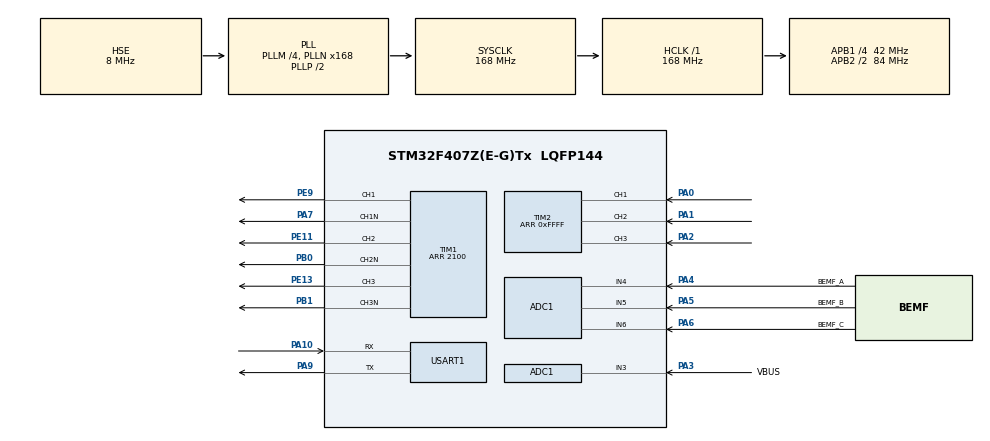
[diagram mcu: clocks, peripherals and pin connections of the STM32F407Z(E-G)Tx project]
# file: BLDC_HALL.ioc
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ADC1.Channel-0\#ChannelRegularConversion=ADC_CHANNEL_3
ADC1.Channel-1\#ChannelRegularConversion=ADC_CHANNEL_4
ADC1.Channel-2\#ChannelRegularConversion=ADC_CHANNEL_5
ADC1.Channel-3\#ChannelRegularConversion=ADC_CHANNEL_6
ADC1.ContinuousConvMode=ENABLE
ADC1.DMAContinuousRequests=ENABLE
ADC1.InjNumberOfConversion=0
ADC1.NbrOfConversion=4
ADC1.NbrOfConversionFlag=1
ADC1.Rank-0\#ChannelRegularConversion=1
ADC1.Rank-1\#ChannelRegularConversion=2
ADC1.Rank-2\#ChannelRegularConversion=3
ADC1.Rank-3\#ChannelRegularConversion=4
ADC1.SamplingTime-0\#ChannelRegularConversion=ADC_SAMPLETIME_3CYCLES
ADC1.SamplingTime-1\#ChannelRegularConversion=ADC_SAMPLETIME_3CYCLES
ADC1.SamplingTime-2\#ChannelRegularConversion=ADC_SAMPLETIME_3CYCLES
ADC1.SamplingTime-3\#ChannelRegularConversion=ADC_SAMPLETIME_3CYCLES
ADC1.ScanConvMode=ENABLE
ADC1.master=1
Dma.ADC1.0.Direction=DMA_PERIPH_TO_MEMORY
Dma.ADC1.0.FIFOMode=DMA_FIFOMODE_DISABLE
Dma.ADC1.0.Instance=DMA2_Stream0
Dma.ADC1.0.MemDataAlignment=DMA_MDATAALIGN_WORD
Dma.ADC1.0.MemInc=DMA_MINC_ENABLE
Dma.ADC1.0.Mode=DMA_CIRCULAR
Dma.ADC1.0.PeriphDataAlignment=DMA_PDATAALIGN_WORD
Dma.ADC1.0.PeriphInc=DMA_PINC_DISABLE
Dma.ADC1.0.Priority=DMA_PRIORITY_HIGH
Dma.Request0=ADC1
Mcu.Family=STM32F4
Mcu.Name=STM32F407Z(E-G)Tx
Mcu.Package=LQFP144
NVIC.DMA2_Stream0_IRQn=true\:0\:0\:true\:false\:true\:false\:true\:true
NVIC.PriorityGroup=NVIC_PRIORITYGROUP_4
NVIC.TIM1_CC_IRQn=true\:0\:0\:false\:false\:true\:true\:true\:true
NVIC.TIM2_IRQn=true\:0\:0\:false\:false\:true\:true\:true\:true
NVIC.TIM6_DAC_IRQn=true\:0\:0\:true\:false\:true\:true\:true\:true
PA0-WKUP.Signal=S_TIM2_CH1_ETR
PA1.Signal=S_TIM2_CH2
PA10.Mode=Asynchronous
PA10.Signal=USART1_RX
PA13.Mode=Serial_Wire
PA13.Signal=SYS_JTMS-SWDIO
PA14.Mode=Serial_Wire
PA14.Signal=SYS_JTCK-SWCLK
PA2.Signal=S_TIM2_CH3
PA3.GPIO_Label=VBUS
PA3.Signal=ADCx_IN3
PA4.GPIO_Label=BEMF_A
PA4.Signal=ADCx_IN4
PA5.GPIO_Label=BEMF_B
PA5.Signal=ADCx_IN5
PA6.GPIO_Label=BEMF_C
PA6.Signal=ADCx_IN6
PA7.Mode=PWM Generation1 CH1 CH1N
PA7.Signal=TIM1_CH1N
PA9.Mode=Asynchronous
PA9.Signal=USART1_TX
PB0.Mode=PWM Generation2 CH2 CH2N
PB0.Signal=TIM1_CH2N
PB1.Mode=PWM Generation3 CH3 CH3N
PB1.Signal=TIM1_CH3N
PE11.Signal=S_TIM1_CH2
PE13.Signal=S_TIM1_CH3
PE9.Signal=S_TIM1_CH1
PH0-OSC_IN.Mode=HSE-External-Oscillator
PH0-OSC_IN.Signal=RCC_OSC_IN
PH1-OSC_OUT.Mode=HSE-External-Oscillator
PH1-OSC_OUT.Signal=RCC_OSC_OUT
ProjectManager.HeapSize=0x200
ProjectManager.StackSize=0x400
ProjectManager.TargetToolchain=MDK-ARM V5.32
RCC.48MHZClocksFreq_Value=84000000
RCC.AHBFreq_Value=168000000
RCC.APB1CLKDivider=RCC_HCLK_DIV4
RCC.APB1Freq_Value=42000000
RCC.APB1TimFreq_Value=84000000
RCC.APB2CLKDivider=RCC_HCLK_DIV2
RCC.APB2Freq_Value=84000000
RCC.APB2TimFreq_Value=168000000
RCC.CortexFreq_Value=168000000
RCC.HCLKFreq_Value=168000000
RCC.HSE_VALUE=8000000
RCC.HSI_VALUE=16000000
RCC.LSE_VALUE=32768
RCC.PLLM=4
RCC.PLLN=168
RCC.PLLSourceVirtual=RCC_PLLSOURCE_HSE
RCC.SYSCLKFreq_VALUE=168000000
RCC.SYSCLKSource=RCC_SYSCLKSOURCE_PLLCLK
RCC.VCOOutputFreq_Value=336000000
SH.ADCx_IN3.0=ADC1_IN3,IN3
SH.ADCx_IN4.0=ADC1_IN4,IN4
SH.ADCx_IN5.0=ADC1_IN5,IN5
SH.ADCx_IN6.0=ADC1_IN6,IN6
SH.S_TIM1_CH1.0=TIM1_CH1,PWM Generation1 CH1 CH1N
SH.S_TIM1_CH2.0=TIM1_CH2,PWM Generation2 CH2 CH2N
SH.S_TIM1_CH3.0=TIM1_CH3,PWM Generation3 CH3 CH3N
SH.S_TIM2_CH1_ETR.0=TIM2_CH1,Xored_Inputs_Hall_Sensor_Interface
SH.S_TIM2_CH2.0=TIM2_CH2,Xored_Inputs_Hall_Sensor_Interface
SH.S_TIM2_CH3.0=TIM2_CH3,Xored_Inputs_Hall_Sensor_Interface
STMicroelectronics.X-CUBE-ALGOBUILD.1.4.0.LibraryCcDSPOoLibraryJjDSPOoLibrary=true
TIM1.AutoReloadPreload=TIM_AUTORELOAD_PRELOAD_ENABLE
TIM1.Channel-PWM\ Generation1\ CH1\ CH1N=TIM_CHANNEL_1
TIM1.Channel-PWM\ Generation2\ CH2\ CH2N=TIM_CHANNEL_2
TIM1.Channel-PWM\ Generation3\ CH3\ CH3N=TIM_CHANNEL_3
TIM1.Channel-PWM\ Generation4\ No\ Output=TIM_CHANNEL_4
TIM1.CounterMode=TIM_COUNTERMODE_CENTERALIGNED1
TIM1.OCMode_PWM-PWM\ Generation1\ CH1\ CH1N=TIM_OCMODE_PWM1
TIM1.OCMode_PWM-PWM\ Generation2\ CH2\ CH2N=TIM_OCMODE_PWM1
TIM1.OCMode_PWM-PWM\ Generation3\ CH3\ CH3N=TIM_OCMODE_PWM1
TIM1.OCMode_PWM-PWM\ Generation4\ No\ Output=TIM_OCMODE_PWM1
TIM1.OffStateIDLEMode=TIM_OSSI_ENABLE
TIM1.OffStateRunMode=TIM_OSSR_ENABLE
TIM1.Period=2100
TIM1.Pulse-PWM\ Generation4\ No\ Output=2100-100
TIM2.Commutation_Delay=0x06
TIM2.IC1Filter=0x0F
TIM2.Period=0xFFFF
TIM6.AutoReloadPreload=TIM_AUTORELOAD_PRELOAD_ENABLE
TIM6.Period=1000-1
TIM6.Prescaler=84-1
USART1.VirtualMode=VM_ASYNC
VP_STMicroelectronics.X-CUBE-ALGOBUILD_VS_DSPOoLibraryJjLibrary_1.4.0_1.4.0.Mode=DSPOoLibraryJjLibrary
VP_TIM1_VS_ClockSourceINT.Mode=Internal
VP_TIM1_VS_no_output4.Mode=PWM Generation4 No Output
VP_TIM6_VS_ClockSourceINT.Mode=Enable_Timer
board=custom

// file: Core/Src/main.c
/* USER CODE BEGIN Header */
/**
 ******************************************************************************
 * @file           : main.c
 * @brief          : Main program body
 ******************************************************************************
 * @attention
 *
 * Copyright (c) 2025 STMicroelectronics.
 * All rights reserved.
 *
 * This software is licensed under terms that can be found in the LICENSE file
 * in the root directory of this software component.
 * If no LICENSE file comes with this software, it is provided AS-IS.
 *
 ******************************************************************************
 */
/* USER CODE END Header */
#include "main.h"
#include "adc.h"
#include "dma.h"
#include "tim.h"
#include "usart.h"
#include "gpio.h"

/* USER CODE BEGIN Includes */

#include "arm_math.h"
#include "math.h"
#include "bsp_hall.h"
#include "bsp_pwm.h"
#include "bsp_motor.h"
#include "pid.h"
#include "bsp_bemf.h"
/* USER CODE END Includes */

void SystemClock_Config(void);

/* USER CODE BEGIN 0 */

float fpu_test = 0;

/* USER CODE END 0 */

int main(void)
{

    /* MCU Configuration--------------------------------------------------------*/

    /* Reset of all peripherals, Initializes the Flash interface and the Systick. */
    HAL_Init();

    /* Configure the system clock */
    SystemClock_Config();

    /* Initialize all configured peripherals */
    MX_GPIO_Init();
    MX_DMA_Init();
    MX_TIM1_Init();
    MX_TIM2_Init();
    MX_USART1_UART_Init();
    MX_TIM6_Init();
    MX_ADC1_Init();
    /* USER CODE BEGIN 2 */
    fpu_test = arm_sin_f32(3.1415926 / 6);
    printf("FPU test result: %f\r\n", fpu_test);

    bemf_adc_init();
#ifndef UNHALL_MODE
    Hall_Start();
#endif

    PWM_Init();
    Motor_Init();
    BLDCMotor_Start();
    /* USER CODE END 2 */

    /* Infinite loop */
    while (1) {

        /* USER CODE BEGIN 3 */
        if (log_1s >= 10) {
            log_1s = 0;
            // printf("%.2f, %.2f, %.2f\n", motor_t.set_speed, motor_t.real_speed, motor_t.speed_duty);
            // printf("%d,%d\n", bemf_check_once, motor_bemf_t.motor_step);
            // printf("%d,%d\n", motor_bemf_t.FlagSwitchStep, motor_bemf_t.motor_bemf_check_cnt);
            printf("%d,%.2f, %.2f, %.2f\n", motor_bemf_t.motor_step, motor_bemf_t.va, motor_bemf_t.vb, motor_bemf_t.vc);
        }
    }
    /* USER CODE END 3 */
}

void SystemClock_Config(void)
{
    RCC_OscInitTypeDef RCC_OscInitStruct = {0};
    RCC_ClkInitTypeDef RCC_ClkInitStruct = {0};

    /** Configure the main internal regulator output voltage
     */
    __HAL_RCC_PWR_CLK_ENABLE();
    __HAL_PWR_VOLTAGESCALING_CONFIG(PWR_REGULATOR_VOLTAGE_SCALE1);

    /** Initializes the RCC Oscillators according to the specified parameters
     * in the RCC_OscInitTypeDef structure.
     */
    RCC_OscInitStruct.OscillatorType = RCC_OSCILLATORTYPE_HSE;
    RCC_OscInitStruct.HSEState = RCC_HSE_ON;
    RCC_OscInitStruct.PLL.PLLState = RCC_PLL_ON;
    RCC_OscInitStruct.PLL.PLLSource = RCC_PLLSOURCE_HSE;
    RCC_OscInitStruct.PLL.PLLM = 4;
    RCC_OscInitStruct.PLL.PLLN = 168;
    RCC_OscInitStruct.PLL.PLLP = RCC_PLLP_DIV2;
    RCC_OscInitStruct.PLL.PLLQ = 4;
    if (HAL_RCC_OscConfig(&RCC_OscInitStruct) != HAL_OK) {
        Error_Handler();
    }

    /** Initializes the CPU, AHB and APB buses clocks
     */
    RCC_ClkInitStruct.ClockType = RCC_CLOCKTYPE_HCLK | RCC_CLOCKTYPE_SYSCLK | RCC_CLOCKTYPE_PCLK1 | RCC_CLOCKTYPE_PCLK2;
    RCC_ClkInitStruct.SYSCLKSource = RCC_SYSCLKSOURCE_PLLCLK;
    RCC_ClkInitStruct.AHBCLKDivider = RCC_SYSCLK_DIV1;
    RCC_ClkInitStruct.APB1CLKDivider = RCC_HCLK_DIV4;
    RCC_ClkInitStruct.APB2CLKDivider = RCC_HCLK_DIV2;

    if (HAL_RCC_ClockConfig(&RCC_ClkInitStruct, FLASH_LATENCY_5) != HAL_OK) {
        Error_Handler();
    }
}

void Error_Handler(void)
{
    __disable_irq();
    while (1) {
    }
}
